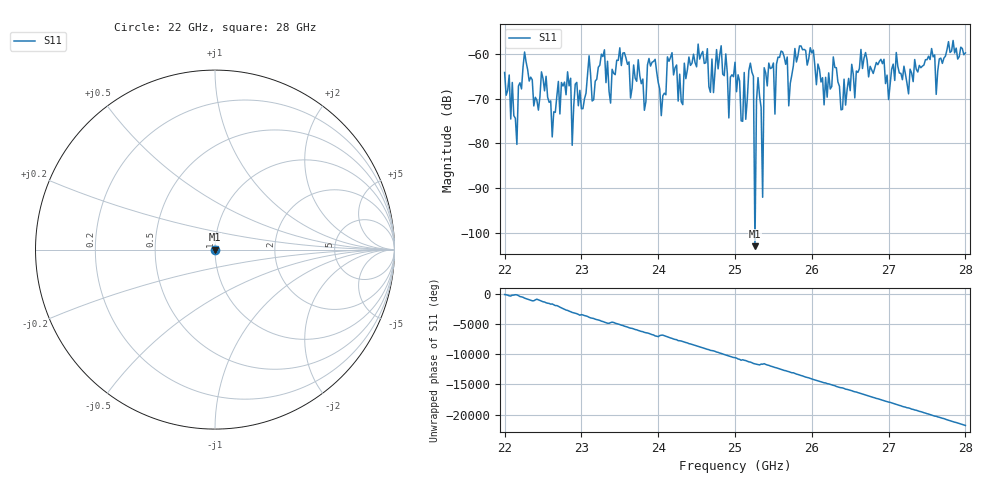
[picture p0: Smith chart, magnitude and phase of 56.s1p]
#  HZ  S  RI  R  50.00
! Rohde & Schwarz ZVA40 4Ports - Version 3.90 - 1145.1110k42 SN: 100403
! Date: 2023-10-04 11:22:34
! Measurement: S12
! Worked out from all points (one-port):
!   301 points, 22 GHz to 28 GHz, reference 50 ohm
!   lowest |S11| = -103.0 dB at 25.26 GHz (marker M1), VSWR 1.00, Z = 50 - j0.000678 ohm
!   |S11| at or under -10 dB: start of sweep to end of sweep
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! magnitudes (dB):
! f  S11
! 22 GHz  -64.1
! 22.16 GHz  -80.2
! 22.26 GHz  -59.6
! 22.62 GHz  -78.6
! 22.76 GHz  -67.2
! 22.86 GHz  -65.4
! 22.88 GHz  -80.4
! 22.92 GHz  -66.7
! 23.1 GHz  -60.4
! 23.38 GHz  -71.0
! 23.5 GHz  -58.6
! 24.26 GHz  -70.5
! 24.82 GHz  -58.2
! 24.92 GHz  -74.3
! 25 GHz  -61.9
! 25.1 GHz  -75.1
! 25.2 GHz  -62.1
! 25.26 GHz  -103.0
! 25.3 GHz  -65.3
! 25.36 GHz  -92.1
! 25.38 GHz  -63.1
! 25.5 GHz  -62.0
! 25.52 GHz  -73.5
! 25.56 GHz  -60.7
! 25.76 GHz  -62.6
! 26.5 GHz  -68.2
! 27.26 GHz  -68.9
! 28 GHz  -59.8
